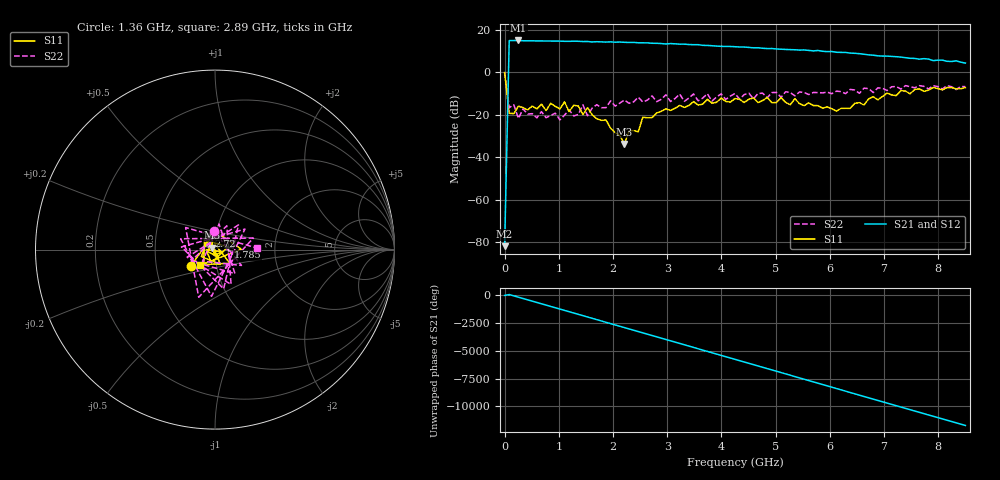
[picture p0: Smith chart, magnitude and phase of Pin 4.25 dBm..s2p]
! RsaToolbox (C) 2013 Rohde & Schwarz America
! Number of points: 101
! Number of ports: 2
! Balanced ports?: 0
# Hz S RI R 50
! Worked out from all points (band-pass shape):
!   101 points, 9 kHz to 8.5 GHz, reference 50 ohm
!   highest |S21| = 15.05 dB at 255 MHz (marker M1); lowest = -81.8 dB at 9 kHz (marker M2)
!   |S21| within 3 dB of the highest: 82.44 MHz to 4.282 GHz (4.2 GHz wide, 192 % of centre)
!   lowest |S11| = -33.7 dB at 2.21 GHz (marker M3), VSWR 1.04, Z = 48.2 + j0.983 ohm
!   |S11| at or under -10 dB: 43.91 MHz to 7.042 GHz (6.998 GHz wide, 198 % of centre); 7.079 GHz to 7.258 GHz (179.1 MHz wide, 2.5 % of centre); 7.475104 GHz to 7.483035 GHz (7.932 MHz wide, 0.106 % of centre)
!   |S22| runs from -22.4 to 0.0 dB; largest |S21 - S12| = 0
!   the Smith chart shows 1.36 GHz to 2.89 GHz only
!   S11 on the Smith chart (normalised r, x): 1.36 GHz: 0.75, -0.14; 1.785 GHz: 1.16, +0.04; 2.72 GHz: 0.92, +0.15; 2.89 GHz: 0.83, -0.14
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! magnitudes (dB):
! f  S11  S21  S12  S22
! 9 kHz  -0.1  -81.8  -81.8  0.0
! 85.01 MHz  -19.3  15.0  15.0  -16.6
! 170 MHz  -19.4  15.0  15.0  -15.2
! 255 MHz  -15.9  15.1  15.1  -21.7
! 340 MHz  -16.6  14.9  14.9  -17.2
! 595 MHz  -17.2  14.8  14.8  -21.4
! 680 MHz  -14.9  14.8  14.8  -18.5
! 1.36 GHz  -15.8  14.7  14.7  -19.8
! 1.445 GHz  -19.9  14.5  14.5  -15.3
! 1.53 GHz  -16.6  14.6  14.6  -20.4
! 1.785 GHz  -22.6  14.4  14.4  -16.6
! 2.21 GHz  -33.7  14.2  14.2  -13.0
! 2.295 GHz  -27.6  14.1  14.1  -14.5
! 2.465 GHz  -28.0  14.0  14.0  -11.7
! 2.55 GHz  -21.1  13.9  13.9  -13.9
! 2.72 GHz  -21.3  13.7  13.7  -11.0
! 2.89 GHz  -18.3  13.6  13.6  -12.7
! 4.25 GHz  -12.3  12.1  12.1  -9.9
! 5.695 GHz  -15.6  10.1  10.1  -9.5
! 6.12 GHz  -18.2  9.5  9.5  -8.8
! 7.14 GHz  -10.6  7.5  7.5  -6.8
! 8.5 GHz  -7.2  4.4  4.4  -6.7
